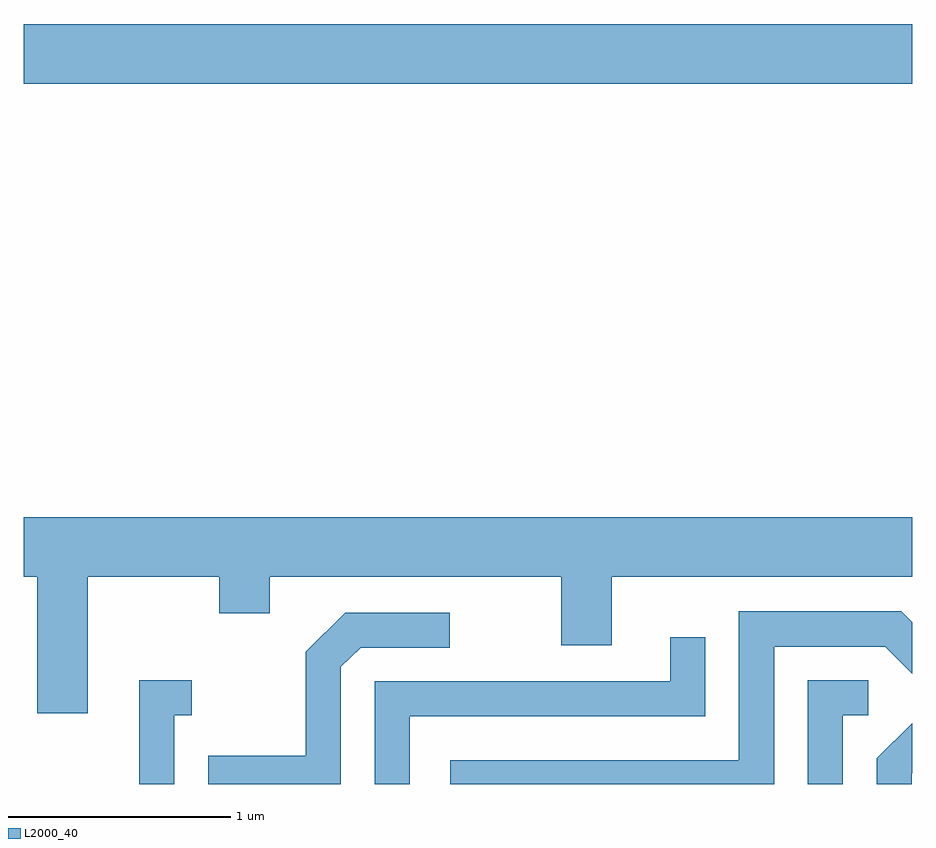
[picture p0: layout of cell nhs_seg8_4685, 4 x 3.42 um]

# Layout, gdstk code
import gdstk
lib = gdstk.Library(unit=1e-6, precision=1e-09)
def R(c, l, rs):  # rectangles x0, y0, x1, y1
    for r in rs: c.add(gdstk.rectangle(r[:2], r[2:], *l))
def P(c, l, *ps):  # polygons
    for p in ps: c.add(gdstk.Polygon(p, *l))
L2000_40 = (2000, 40)

nhs_seg8_4685 = lib.new_cell('nhs_seg8_4685')
R(nhs_seg8_4685, L2000_40, [(325.611,1867.496,329.611,1867.764)])
P(nhs_seg8_4685, L2000_40, [(325.899,1865.276),(326.491,1865.276),(326.491,1865.111),(326.719,1865.111),(326.719,1865.276),(328.031,1865.276),(328.031,1864.966),(328.259,1864.966),(328.259,1865.276),(329.611,1865.276),(329.611,1865.544),(325.611,1865.544),(325.611,1865.276),(325.671,1865.276),(325.671,1864.661),(325.899,1864.661)],
  [(328.989,1864.961),(329.489,1864.961),(329.611,1864.839),(329.611,1865.07),(329.562,1865.119),(328.831,1865.119),(328.831,1864.449),(327.531,1864.449),(327.531,1864.342),(328.989,1864.342)],
  [(327.039,1864.869),(327.127,1864.956),(327.528,1864.956),(327.528,1865.114),(327.059,1865.114),(326.881,1864.937),(326.881,1864.469),(326.441,1864.469),(326.441,1864.342),(327.039,1864.342)],
  [(327.349,1864.646),(328.679,1864.646),(328.679,1865.003),(328.521,1865.003),(328.521,1864.804),(327.191,1864.804),(327.191,1864.342),(327.349,1864.342)],
  [(329.299,1864.651),(329.413,1864.651),(329.413,1864.809),(329.141,1864.809),(329.141,1864.342),(329.299,1864.342)],
  [(326.289,1864.651),(326.368,1864.651),(326.368,1864.809),(326.131,1864.809),(326.131,1864.342),(326.289,1864.342)],
  [(329.609,1864.389),(329.611,1864.391),(329.611,1864.616),(329.451,1864.457),(329.451,1864.342),(329.609,1864.342)])

lib.write_gds('nhs_seg8_4685.gds')
